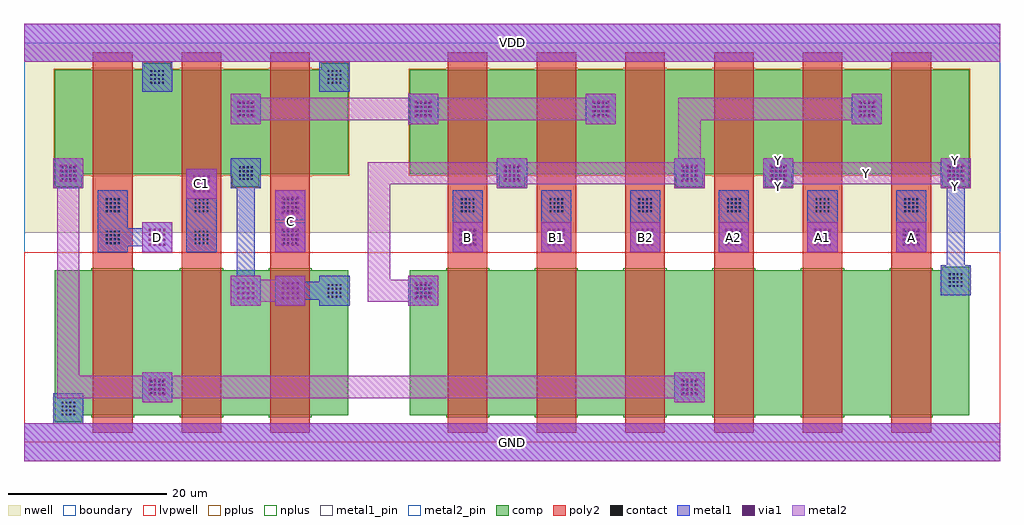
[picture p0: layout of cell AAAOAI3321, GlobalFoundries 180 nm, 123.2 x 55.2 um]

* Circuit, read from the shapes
.subckt AAAOAI3321 A A1 A2 B B1 B2 C C1 D GND VDD Y
XM1 n1 D GND VSUBS nfet_03v3 w=18.3u l=5u
XM2 n2 C1 n1 VSUBS nfet_03v3 w=18.3u l=5u
XM3 n3 C n2 VSUBS nfet_03v3 w=18.3u l=5u
XM4 n4 B n5 VSUBS nfet_03v3 w=18.3u l=5u
XM5 n6 B1 n4 VSUBS nfet_03v3 w=18.3u l=5u
XM6 n1 B2 n6 VSUBS nfet_03v3 w=18.3u l=5u
XM7 n7 A2 n1 VSUBS nfet_03v3 w=18.3u l=5u
XM8 n8 A1 n7 VSUBS nfet_03v3 w=18.3u l=5u
XM9 Y A n8 VSUBS nfet_03v3 w=18.3u l=5u
XM10 VDD D n1 n9 pfet_03v3 w=13.2u l=5u
XM11 n3 C1 VDD n9 pfet_03v3 w=13.2u l=5u
XM12 VDD C n3 n9 pfet_03v3 w=13.2u l=5u
XM13 n5 B n3 n9 pfet_03v3 w=13.2u l=5u
XM14 n3 B1 n5 n9 pfet_03v3 w=13.2u l=5u
XM15 n5 B2 n3 n9 pfet_03v3 w=13.2u l=5u
XM16 Y A2 n5 n9 pfet_03v3 w=13.2u l=5u
XM17 n5 A1 Y n9 pfet_03v3 w=13.2u l=5u
XM18 Y A n5 n9 pfet_03v3 w=13.2u l=5u
.ends

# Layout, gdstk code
import gdstk
lib = gdstk.Library(unit=1e-6, precision=1e-09)
def R(c, l, rs):  # rectangles x0, y0, x1, y1
    for r in rs: c.add(gdstk.rectangle(r[:2], r[2:], *l))
def A(c, l, x, y, w, h, nx, ny, dx, dy):  # array of equal rectangles
    R(c, l, [(x+i*dx, y+j*dy, x+i*dx+w, y+j*dy+h) for i in range(nx) for j in range(ny)])
boundary = (0, 0)
nwell = (21, 0)
comp = (22, 0)
poly2 = (30, 0)
pplus = (31, 0)
nplus = (32, 0)
contact = (33, 0)
metal1 = (34, 0)
metal1_pin = (34, 10)
via1 = (35, 0)
metal2 = (36, 0)
metal2_pin = (36, 10)
lvpwell = (204, 0)

aaaoai3321 = lib.new_cell('AAAOAI3321')
R(aaaoai3321, boundary, [(0,0,123.2,50.4)])
R(aaaoai3321, nwell, [(0,26.45,123.2,50.4)])
R(aaaoai3321, comp, [(3.9,2.55,7.3,3.4), (3.9,3.4,40.9,21.7), (48.7,3.4,119.3,21.7), (115.9,21.7,119.3,22.15), (3.9,32.25,7.3,33.8), (26.3,32.25,29.7,33.8), (59.9,32.25,63.3,33.8), (82.3,32.25,85.7,33.8), (93.5,32.25,96.9,33.8), (115.9,32.25,119.3,33.8), (3.9,33.8,40.9,47), (48.7,33.8,119.3,47), (15.1,47,18.5,47.8), (37.5,47,40.9,47.8)])
A(aaaoai3321, poly2, 8.7, 1.2, 5, 48, 3, 1, 11.2, 0)
A(aaaoai3321, poly2, 53.5, 1.2, 5, 48, 6, 1, 11.2, 0)
A(aaaoai3321, pplus, 8.47, 33.57, 5.46, 0.07, 3, 2, 11.2, 13.59)
A(aaaoai3321, pplus, 53.27, 33.57, 5.46, 0.07, 6, 2, 11.2, 13.59)
R(aaaoai3321, pplus, [(3.74,32.09,7.46,33.64), (26.14,32.09,29.86,33.64), (59.74,32.09,63.46,33.64), (82.14,32.09,85.86,33.64), (93.34,32.09,97.06,33.64), (115.74,32.09,119.46,33.64), (3.74,33.64,41.06,47.16), (48.54,33.64,119.46,47.16), (14.94,47.16,18.66,47.96), (37.34,47.16,41.06,47.96)])
A(aaaoai3321, nplus, 8.47, 3.17, 5.46, 0.21, 3, 2, 11.2, 18.55)
A(aaaoai3321, nplus, 53.27, 3.17, 5.46, 0.21, 6, 2, 11.2, 18.55)
R(aaaoai3321, nplus, [(3.88,2.53,7.32,3.38), (3.88,3.38,40.92,21.72), (48.68,3.38,119.32,21.72), (115.88,21.72,119.32,22.17)])
A(aaaoai3321, contact, 4.74, 3.39, 0.22, 0.22, 4, 4, 0.5, 0.5)
A(aaaoai3321, contact, 15.94, 6.09, 0.22, 0.22, 4, 4, 0.5, 0.5)
A(aaaoai3321, contact, 83.14, 6.09, 0.22, 0.22, 4, 4, 0.5, 0.5)
A(aaaoai3321, contact, 38.34, 18.24, 0.22, 0.22, 4, 4, 0.5, 0.5)
A(aaaoai3321, contact, 49.54, 18.24, 0.22, 0.22, 4, 4, 0.5, 0.5)
A(aaaoai3321, contact, 116.74, 19.59, 0.22, 0.22, 4, 4, 0.5, 0.5)
A(aaaoai3321, contact, 10.34, 24.99, 0.22, 0.22, 4, 4, 0.5, 0.5)
A(aaaoai3321, contact, 21.54, 24.99, 0.22, 0.22, 4, 4, 0.5, 0.5)
A(aaaoai3321, contact, 32.74, 24.99, 0.22, 0.22, 4, 4, 0.5, 0.5)
A(aaaoai3321, contact, 55.14, 24.99, 0.22, 0.22, 4, 4, 0.5, 0.5)
A(aaaoai3321, contact, 66.34, 24.99, 0.22, 0.22, 4, 4, 0.5, 0.5)
A(aaaoai3321, contact, 77.54, 24.99, 0.22, 0.22, 4, 4, 0.5, 0.5)
A(aaaoai3321, contact, 88.74, 24.99, 0.22, 0.22, 4, 4, 0.5, 0.5)
A(aaaoai3321, contact, 99.94, 24.99, 0.22, 0.22, 4, 4, 0.5, 0.5)
A(aaaoai3321, contact, 111.14, 24.99, 0.22, 0.22, 4, 4, 0.5, 0.5)
A(aaaoai3321, contact, 10.34, 29.04, 0.22, 0.22, 4, 4, 0.5, 0.5)
A(aaaoai3321, contact, 21.54, 29.04, 0.22, 0.22, 4, 4, 0.5, 0.5)
A(aaaoai3321, contact, 32.74, 29.04, 0.22, 0.22, 4, 4, 0.5, 0.5)
A(aaaoai3321, contact, 55.14, 29.04, 0.22, 0.22, 4, 4, 0.5, 0.5)
A(aaaoai3321, contact, 66.34, 29.04, 0.22, 0.22, 4, 4, 0.5, 0.5)
A(aaaoai3321, contact, 77.54, 29.04, 0.22, 0.22, 4, 4, 0.5, 0.5)
A(aaaoai3321, contact, 88.74, 29.04, 0.22, 0.22, 4, 4, 0.5, 0.5)
A(aaaoai3321, contact, 99.94, 29.04, 0.22, 0.22, 4, 4, 0.5, 0.5)
A(aaaoai3321, contact, 111.14, 29.04, 0.22, 0.22, 4, 4, 0.5, 0.5)
A(aaaoai3321, contact, 4.74, 33.09, 0.22, 0.22, 4, 4, 0.5, 0.5)
A(aaaoai3321, contact, 27.14, 33.09, 0.22, 0.22, 4, 4, 0.5, 0.5)
A(aaaoai3321, contact, 60.74, 33.09, 0.22, 0.22, 4, 4, 0.5, 0.5)
A(aaaoai3321, contact, 83.14, 33.09, 0.22, 0.22, 4, 4, 0.5, 0.5)
A(aaaoai3321, contact, 94.34, 33.09, 0.22, 0.22, 4, 4, 0.5, 0.5)
A(aaaoai3321, contact, 116.74, 33.09, 0.22, 0.22, 4, 4, 0.5, 0.5)
A(aaaoai3321, contact, 27.14, 41.19, 0.22, 0.22, 4, 4, 0.5, 0.5)
A(aaaoai3321, contact, 49.54, 41.19, 0.22, 0.22, 4, 4, 0.5, 0.5)
A(aaaoai3321, contact, 71.94, 41.19, 0.22, 0.22, 4, 4, 0.5, 0.5)
A(aaaoai3321, contact, 105.54, 41.19, 0.22, 0.22, 4, 4, 0.5, 0.5)
A(aaaoai3321, contact, 15.94, 45.24, 0.22, 0.22, 4, 4, 0.5, 0.5)
A(aaaoai3321, contact, 38.34, 45.24, 0.22, 0.22, 4, 4, 0.5, 0.5)
A(aaaoai3321, metal1, 54.1, 23.95, 3.8, 7.85, 6, 1, 11.2, 0)
A(aaaoai3321, metal1, 26.1, 40.15, 3.8, 3.8, 3, 1, 22.4, 0)
R(aaaoai3321, metal1, [(0,-2.4,123.2,2.4), (3.7,2.4,7.5,6.15), (14.9,5.05,18.7,8.85), (82.1,5.05,85.9,8.85), (26.1,17.2,29.9,21), (31.7,17.2,35.5,17.95), (37.3,17.2,41.1,17.95), (48.5,17.2,52.3,21), (31.7,17.95,41.1,20.25), (115.7,18.55,119.5,22.35), (31.7,20.25,35.5,21), (37.3,20.25,41.1,21), (26.85,21,29.15,32.05), (116.45,22.35,118.75,32.05), (9.3,23.95,13.1,24.7), (14.9,23.95,18.7,24.7), (20.5,23.95,24.3,34.5), (31.7,23.95,35.5,27.75), (9.3,24.7,18.7,27), (9.3,27,13.1,31.8), (14.9,27,18.7,27.75), (31.7,28,35.5,31.8), (3.7,32.05,7.5,35.85), (26.1,32.05,29.9,35.85), (59.7,32.05,63.5,35.85), (82.1,32.05,85.9,35.85), (93.3,32.05,97.1,35.85), (115.7,32.05,119.5,35.85), (104.5,40.15,108.3,43.95), (14.9,44.2,18.7,48), (37.3,44.2,41.1,48), (0,48,123.2,52.8)])
R(aaaoai3321, metal1_pin, [(0,-2.4,123.2,2.4), (0,48,123.2,52.8)])
A(aaaoai3321, via1, 15.74, 5.89, 0.26, 0.26, 4, 4, 0.62, 0.62)
A(aaaoai3321, via1, 82.94, 5.89, 0.26, 0.26, 4, 4, 0.62, 0.62)
A(aaaoai3321, via1, 26.94, 18.04, 0.26, 0.26, 4, 4, 0.62, 0.62)
A(aaaoai3321, via1, 32.54, 18.04, 0.26, 0.26, 4, 4, 0.62, 0.62)
A(aaaoai3321, via1, 49.34, 18.04, 0.26, 0.26, 4, 4, 0.62, 0.62)
A(aaaoai3321, via1, 15.74, 24.79, 0.26, 0.26, 4, 4, 0.62, 0.62)
A(aaaoai3321, via1, 32.54, 24.79, 0.26, 0.26, 4, 4, 0.62, 0.62)
A(aaaoai3321, via1, 54.94, 24.79, 0.26, 0.26, 4, 4, 0.62, 0.62)
A(aaaoai3321, via1, 66.14, 24.79, 0.26, 0.26, 4, 4, 0.62, 0.62)
A(aaaoai3321, via1, 77.34, 24.79, 0.26, 0.26, 4, 4, 0.62, 0.62)
A(aaaoai3321, via1, 88.54, 24.79, 0.26, 0.26, 4, 4, 0.62, 0.62)
A(aaaoai3321, via1, 99.74, 24.79, 0.26, 0.26, 4, 4, 0.62, 0.62)
A(aaaoai3321, via1, 110.94, 24.79, 0.26, 0.26, 4, 4, 0.62, 0.62)
A(aaaoai3321, via1, 32.54, 28.84, 0.26, 0.26, 4, 4, 0.62, 0.62)
A(aaaoai3321, via1, 21.34, 31.54, 0.26, 0.26, 4, 4, 0.62, 0.62)
A(aaaoai3321, via1, 4.54, 32.89, 0.26, 0.26, 4, 4, 0.62, 0.62)
A(aaaoai3321, via1, 60.54, 32.89, 0.26, 0.26, 4, 4, 0.62, 0.62)
A(aaaoai3321, via1, 82.94, 32.89, 0.26, 0.26, 4, 4, 0.62, 0.62)
A(aaaoai3321, via1, 94.14, 32.89, 0.26, 0.26, 4, 4, 0.62, 0.62)
A(aaaoai3321, via1, 116.54, 32.89, 0.26, 0.26, 4, 4, 0.62, 0.62)
A(aaaoai3321, via1, 26.94, 40.99, 0.26, 0.26, 4, 4, 0.62, 0.62)
A(aaaoai3321, via1, 49.34, 40.99, 0.26, 0.26, 4, 4, 0.62, 0.62)
A(aaaoai3321, via1, 71.74, 40.99, 0.26, 0.26, 4, 4, 0.62, 0.62)
A(aaaoai3321, via1, 105.34, 40.99, 0.26, 0.26, 4, 4, 0.62, 0.62)
A(aaaoai3321, metal2, 54.1, 23.95, 3.8, 3.8, 6, 1, 11.2, 0)
A(aaaoai3321, metal2, 26.1, 40.15, 3.8, 0.5, 3, 2, 22.4, 3.3)
R(aaaoai3321, metal2, [(0,-2.4,123.2,2.4), (14.9,5.05,18.7,5.55), (82.1,5.05,85.9,5.55), (4.2,5.55,85.9,8.35), (4.2,8.35,7,32.05), (14.9,8.35,18.7,8.85), (82.1,8.35,85.9,8.85), (26.1,17.2,29.9,17.7), (31.7,17.2,35.5,17.7), (48.5,17.2,52.3,17.7), (26.1,17.7,35.5,20.5), (43.4,17.7,52.3,20.5), (26.1,20.5,29.9,21), (31.7,20.5,35.5,21), (43.4,20.5,46.2,32.55), (48.5,20.5,52.3,21), (14.9,23.95,18.7,27.75), (31.7,23.95,35.5,31.8), (20.5,30.7,24.3,34.5), (3.7,32.05,7.5,35.85), (59.7,32.05,63.5,32.55), (82.1,32.05,85.9,32.55), (93.3,32.05,97.1,32.55), (115.7,32.05,119.5,32.55), (43.4,32.55,85.9,35.35), (93.3,32.55,119.5,35.35), (59.7,35.35,63.5,35.85), (82.1,35.35,85.9,35.85), (93.3,35.35,97.1,35.85), (115.7,35.35,119.5,35.85), (82.6,35.85,85.4,40.65), (104.5,40.15,108.3,40.65), (26.1,40.65,74.7,43.45), (82.6,40.65,108.3,43.45), (104.5,43.45,108.3,43.95), (0,48,123.2,52.8)])
A(aaaoai3321, metal2_pin, 54.1, 23.95, 3.8, 3.8, 6, 1, 11.2, 0)
R(aaaoai3321, metal2_pin, [(14.9,23.95,18.7,27.75), (31.7,23.95,35.5,31.8), (20.5,30.7,24.3,34.5), (93.3,32.05,97.1,32.55), (115.7,32.05,119.5,32.55), (93.3,32.55,119.5,35.35), (93.3,35.35,97.1,35.85), (115.7,35.35,119.5,35.85)])
R(aaaoai3321, lvpwell, [(0,0,123.2,23.95)])
aaaoai3321.add(gdstk.Label('VDD', (61.6,50.4), layer=34, texttype=10))
aaaoai3321.add(gdstk.Label('GND', (61.6,0), layer=34, texttype=10))
aaaoai3321.add(gdstk.Label('Y', (95.2,32.3), layer=36, texttype=10))
aaaoai3321.add(gdstk.Label('Y', (117.6,32.3), layer=36, texttype=10))
aaaoai3321.add(gdstk.Label('Y', (106.4,33.95), layer=36, texttype=10))
aaaoai3321.add(gdstk.Label('Y', (95.2,35.6), layer=36, texttype=10))
aaaoai3321.add(gdstk.Label('Y', (117.6,35.6), layer=36, texttype=10))
aaaoai3321.add(gdstk.Label('C', (33.6,27.875), layer=36, texttype=10))
aaaoai3321.add(gdstk.Label('A1', (100.8,25.85), layer=36, texttype=10))
aaaoai3321.add(gdstk.Label('C1', (22.4,32.6), layer=36, texttype=10))
aaaoai3321.add(gdstk.Label('B1', (67.2,25.85), layer=36, texttype=10))
aaaoai3321.add(gdstk.Label('B2', (78.4,25.85), layer=36, texttype=10))
aaaoai3321.add(gdstk.Label('A', (112,25.85), layer=36, texttype=10))
aaaoai3321.add(gdstk.Label('D', (16.8,25.85), layer=36, texttype=10))
aaaoai3321.add(gdstk.Label('A2', (89.6,25.85), layer=36, texttype=10))
aaaoai3321.add(gdstk.Label('B', (56,25.85), layer=36, texttype=10))

lib.write_gds('AAAOAI3321.gds')
